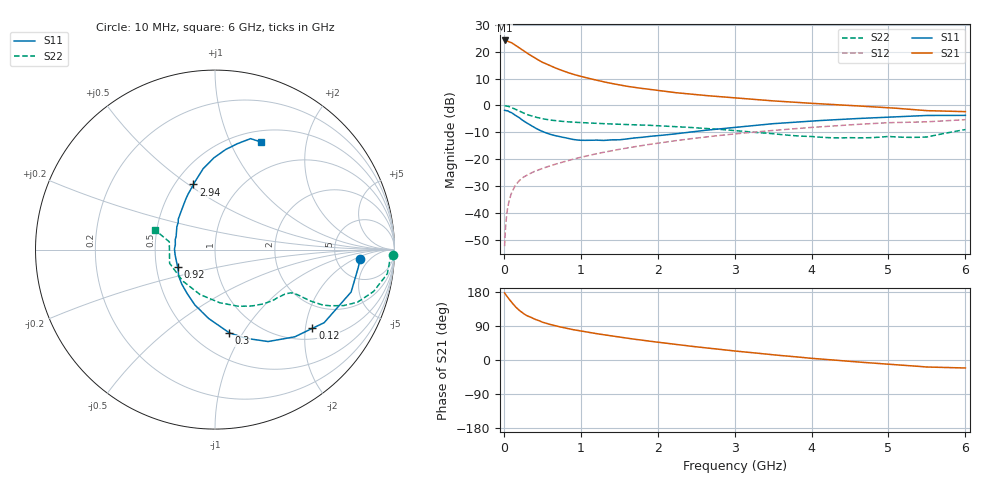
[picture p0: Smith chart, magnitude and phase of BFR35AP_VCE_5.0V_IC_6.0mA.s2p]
! Infineon Technologies  Discrete & RF Semiconductors
! BFR35AP
! VCE =  5.0 V,  IC =  6.0 mA
! Common Emitter S-Parameters:  Nov 2015
# GHz  S  MA  R  50
!  f  S11  S21  S12  S22
! GHz  MAG  ANG  MAG  ANG  MAG  ANG  MAG  ANG
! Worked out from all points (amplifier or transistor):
!   210 points, 10 MHz to 6 GHz, reference 50 ohm
!   highest |S21| = 24.2 dB at 10 MHz (marker M1)
!   |S21| within 3 dB of that: start of sweep to 214.9 MHz
!   unconditionally stable (mu >= 1): 762.7 MHz to 3.257 GHz
!   at 185 MHz: K = 0.41, MSG = 25.1 dB, |S12| = -28.5 dB
!   at 1.52 GHz: K = 1.12, MAG = 9.8 dB, |S12| = -16.3 dB
!   at 6 GHz: K = 0.93, MSG = 1.5 dB, |S12| = -5.3 dB
!   S11 on the Smith chart (normalised r, x): 10 MHz: 8.74, -2.67; 120 MHz: 1.28, -2.19; 300 MHz: 0.73, -0.87; 920 MHz: 0.64, -0.13; 2.94 GHz: 0.62, +0.52; 6 GHz: 0.63, +1.32
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0.01  0.8106 -3.7  16.15 177.0  0.0024 88.9  0.9919 -1.6
0.02  0.8042 -7.2  16.02 173.6  0.0048 90.5  0.9768 -3.2
0.05  0.7944 -17.3  15.65 165.4  0.0125 81.8  0.9694 -8.0
0.1  0.732 -33.8  14.7 152.3  0.0236 74.3  0.9136 -14.8
0.12  0.698 -38.9  14.03 147.8  0.0271 71.1  0.886 -16.9
0.15  0.6587 -47.5  13.2 140.3  0.0325 67.7  0.847 -20.2
0.2  0.5914 -60.0  11.84 131.2  0.0397 63.6  0.7827 -23.5
0.26  0.5103 -72.8  10.32 122.0  0.0466 61.1  0.7135 -26.0
0.3  0.47 -80.3  9.405 116.9  0.0502 59.9  0.6759 -27.2
0.4  0.3853 -95.3  7.647 107.9  0.0592 58.4  0.6106 -28.2
0.5  0.3281 -110.0  6.356 99.9  0.0669 58.6  0.5649 -28.5
0.6  0.2904 -122.1  5.469 93.9  0.0749 59.1  0.5342 -28.6
0.7  0.2674 -133.7  4.779 88.7  0.0828 59.5  0.5138 -28.8
0.92  0.2301 -154.5  3.728 79.4  0.1015 60.2  0.4855 -29.8
1.02  0.2239 -165.1  3.412 75.8  0.1098 60.4  0.4772 -30.6
1.4  0.2285 165.7  2.559 63.4  0.1427 60.1  0.4515 -34.7
2.02  0.2748 135.5  1.876 46.5  0.2001 56.5  0.4171 -44.5
2.94  0.3822 108.3  1.399 25.2  0.2888 48.2  0.3466 -65.6
3.1  0.4023 105.2  1.34 21.9  0.3038 46.3  0.3309 -70.5
4.1  0.5214 89.1  1.072 2.9  0.398 34.5  0.2566 -113.7
5.1  0.6127 76.7  0.885 -12.7  0.4794 20.6  0.2586 -168.3
6  0.6518 66.7  0.765 -21.1  0.5422 10.1  0.3548 161.7
